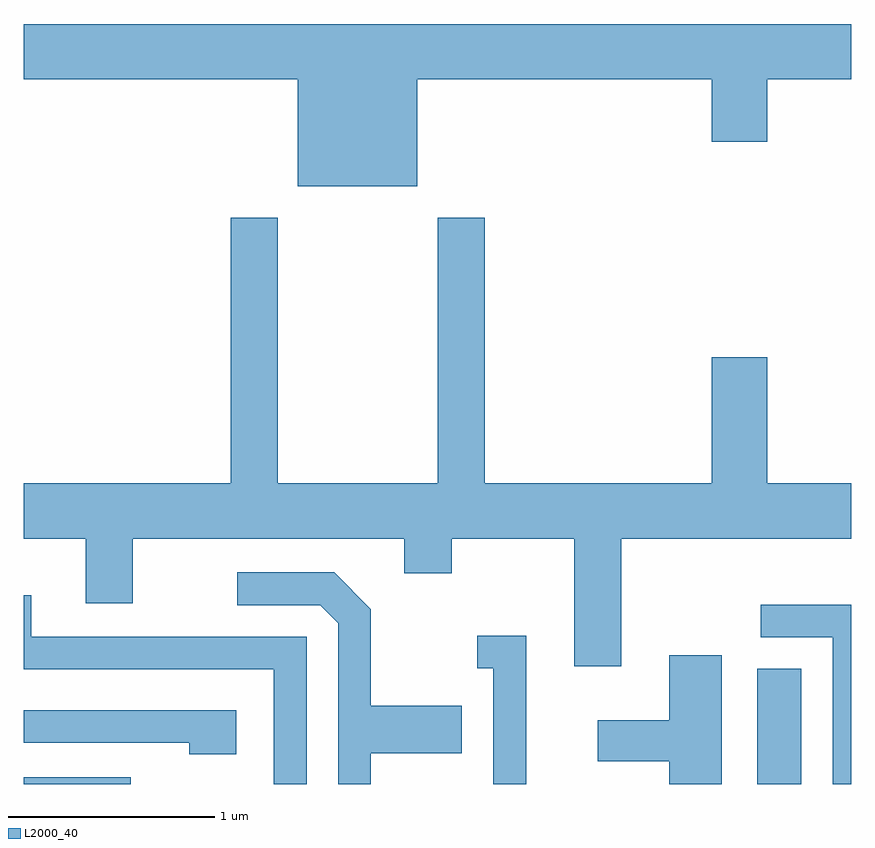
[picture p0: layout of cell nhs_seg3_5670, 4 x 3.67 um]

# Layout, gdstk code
import gdstk
lib = gdstk.Library(unit=1e-6, precision=1e-09)
def R(c, l, rs):  # rectangles x0, y0, x1, y1
    for r in rs: c.add(gdstk.rectangle(r[:2], r[2:], *l))
def P(c, l, *ps):  # polygons
    for p in ps: c.add(gdstk.Polygon(p, *l))
L2000_40 = (2000, 40)

nhs_seg3_5670 = lib.new_cell('nhs_seg3_5670')
R(nhs_seg3_5670, L2000_40, [(351.611,1175.892,352.128,1175.924), (355.156,1175.892,355.369,1176.449)])
P(nhs_seg3_5670, L2000_40, [(353.514,1179.296),(354.936,1179.296),(354.936,1178.996),(355.204,1178.996),(355.204,1179.296),(355.611,1179.296),(355.611,1179.564),(351.611,1179.564),(351.611,1179.296),(352.936,1179.296),(352.936,1178.781),(353.514,1178.781)],
  [(354.499,1177.076),(355.611,1177.076),(355.611,1177.344),(355.204,1177.344),(355.204,1177.954),(354.936,1177.954),(354.936,1177.344),(353.839,1177.344),(353.839,1178.629),(353.611,1178.629),(353.611,1177.344),(352.839,1177.344),(352.839,1178.629),(352.611,1178.629),(352.611,1177.344),(351.611,1177.344),(351.611,1177.076),(351.911,1177.076),(351.911,1176.766),(352.139,1176.766),(352.139,1177.076),(353.451,1177.076),(353.451,1176.911),(353.679,1176.911),(353.679,1177.076),(354.271,1177.076),(354.271,1176.461),(354.499,1176.461)],
  [(353.289,1176.041),(353.729,1176.041),(353.729,1176.269),(353.289,1176.269),(353.289,1176.737),(353.112,1176.914),(352.643,1176.914),(352.643,1176.756),(353.044,1176.756),(353.131,1176.669),(353.131,1175.892),(353.289,1175.892)],
  [(352.979,1176.604),(351.649,1176.604),(351.649,1176.803),(351.611,1176.803),(351.611,1176.446),(352.821,1176.446),(352.821,1175.892),(352.979,1175.892)],
  [(355.611,1176.759),(355.173,1176.759),(355.173,1176.601),(355.521,1176.601),(355.521,1175.892),(355.611,1175.892)],
  [(354.039,1176.609),(353.803,1176.609),(353.803,1176.451),(353.881,1176.451),(353.881,1175.892),(354.039,1175.892)],
  [(354.984,1176.514),(354.731,1176.514),(354.731,1176.199),(354.386,1176.199),(354.386,1176.001),(354.731,1176.001),(354.731,1175.892),(354.984,1175.892)],
  [(352.639,1176.249),(351.611,1176.249),(351.611,1176.091),(352.411,1176.091),(352.411,1176.036),(352.639,1176.036)])

lib.write_gds('nhs_seg3_5670.gds')
